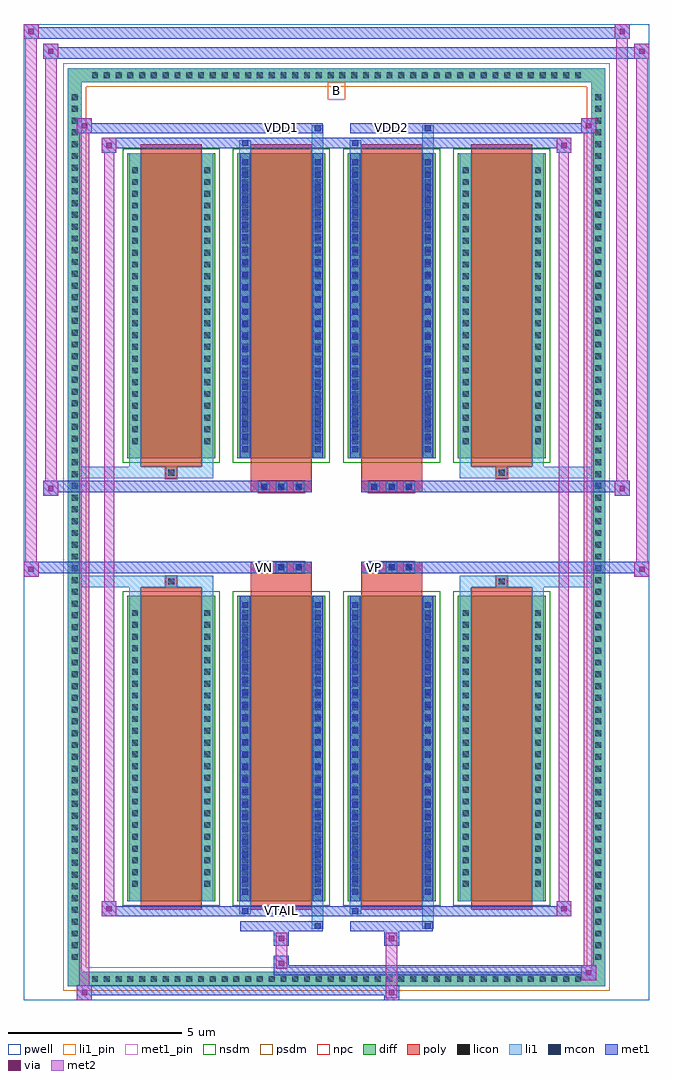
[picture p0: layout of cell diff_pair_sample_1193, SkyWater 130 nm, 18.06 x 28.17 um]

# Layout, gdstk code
import gdstk
lib = gdstk.Library(unit=1e-6, precision=5e-09)
def R(c, l, rs):  # rectangles x0, y0, x1, y1
    for r in rs: c.add(gdstk.rectangle(r[:2], r[2:], *l))
def A(c, l, x, y, w, h, nx, ny, dx, dy):  # array of equal rectangles
    R(c, l, [(x+i*dx, y+j*dy, x+i*dx+w, y+j*dy+h) for i in range(nx) for j in range(ny)])
def P(c, l, *ps):  # polygons
    for p in ps: c.add(gdstk.Polygon(p, *l))
pwell = (64, 44)
diff = (65, 20)
poly = (66, 20)
licon = (66, 44)
li1_pin = (67, 16)
li1 = (67, 20)
mcon = (67, 44)
met1_pin = (68, 16)
met1 = (68, 20)
via = (68, 44)
met2 = (69, 20)
nsdm = (93, 44)
psdm = (94, 20)
npc = (95, 20)

diff_pair_sample_1193 = lib.new_cell('diff_pair_sample_1193')
R(diff_pair_sample_1193, pwell, [(-9.03,-13.65,9.03,14.52), (-6.35,-11.84,-0.01,-0.8), (0.01,-11.84,6.35,-0.8), (-6.35,0.8,-0.01,11.84), (0.01,0.8,6.35,11.84)])
A(diff_pair_sample_1193, diff, -7.175, -13.25, 0.41, 0.41, 42, 2, 0.34, 26.09)
A(diff_pair_sample_1193, diff, -7.76, -12.615, 0.41, 0.41, 1, 74, 0, 0.34)
A(diff_pair_sample_1193, diff, 7.35, -12.615, 0.41, 0.41, 1, 74, 0, 0.34)
A(diff_pair_sample_1193, diff, -6.04, -10.795, 2.54, 8.81, 4, 2, 3.18, 12.78)
R(diff_pair_sample_1193, diff, [(-7.175,-13.25,7.175,-12.84), (-7.76,-12.615,-7.35,12.615), (7.35,-12.615,7.76,12.615), (-7.175,12.84,7.175,13.25)])
P(diff_pair_sample_1193, diff, [(7.76,13.25),(-7.76,13.25),(-7.76,-12.84),(-7.35,-12.84),(-7.35,12.84),(7.35,12.84),(7.35,-12.84),(-7.35,-12.84),(-7.76,-12.84),(-7.76,-13.25),(7.76,-13.25)])
A(diff_pair_sample_1193, poly, -5.65, -11.045, 1.76, 9.31, 4, 2, 3.18, 12.78)
A(diff_pair_sample_1193, poly, -2.255, -1.33, 0.33, 0.33, 3, 2, 0.5, 2.33)
A(diff_pair_sample_1193, poly, 0.925, -1.33, 0.33, 0.33, 3, 2, 0.5, 2.33)
R(diff_pair_sample_1193, poly, [(-4.935,-1.735,-4.605,-1.405), (-4.935,-1.735,-4.605,-1.405), (-2.47,-1.735,-0.71,-1.33), (0.71,-1.735,2.47,-1.33), (4.605,-1.735,4.935,-1.405), (4.605,-1.735,4.935,-1.405), (-2.47,-1.33,-0.71,-1), (0.71,-1.33,2.47,-1), (-2.47,1,-0.71,1.33), (0.71,1,2.47,1.33), (-2.47,1.33,-0.71,1.735), (0.71,1.33,2.47,1.735), (-4.935,1.405,-4.605,1.735), (-4.935,1.405,-4.605,1.735), (4.605,1.405,4.935,1.735), (4.605,1.405,4.935,1.735)])
A(diff_pair_sample_1193, licon, -7.055, -13.13, 0.17, 0.17, 42, 2, 0.34, 26.09)
A(diff_pair_sample_1193, licon, -7.64, -12.495, 0.17, 0.17, 1, 74, 0, 0.34)
A(diff_pair_sample_1193, licon, 7.47, -12.495, 0.17, 0.17, 1, 74, 0, 0.34)
A(diff_pair_sample_1193, licon, -5.9, -10.385, 0.17, 0.17, 1, 24, 0, 0.34)
A(diff_pair_sample_1193, licon, -3.81, -10.385, 0.17, 0.17, 1, 24, 0, 0.34)
A(diff_pair_sample_1193, licon, -2.72, -10.385, 0.17, 0.17, 1, 24, 0, 0.34)
A(diff_pair_sample_1193, licon, -0.63, -10.385, 0.17, 0.17, 1, 24, 0, 0.34)
A(diff_pair_sample_1193, licon, 0.46, -10.385, 0.17, 0.17, 1, 24, 0, 0.34)
A(diff_pair_sample_1193, licon, 2.55, -10.385, 0.17, 0.17, 1, 24, 0, 0.34)
A(diff_pair_sample_1193, licon, 3.64, -10.385, 0.17, 0.17, 1, 24, 0, 0.34)
A(diff_pair_sample_1193, licon, 5.73, -10.385, 0.17, 0.17, 1, 24, 0, 0.34)
A(diff_pair_sample_1193, licon, -2.175, -1.25, 0.17, 0.17, 3, 2, 0.5, 2.33)
A(diff_pair_sample_1193, licon, 1.005, -1.25, 0.17, 0.17, 3, 2, 0.5, 2.33)
A(diff_pair_sample_1193, licon, -5.9, 2.395, 0.17, 0.17, 1, 24, 0, 0.34)
A(diff_pair_sample_1193, licon, -3.81, 2.395, 0.17, 0.17, 1, 24, 0, 0.34)
A(diff_pair_sample_1193, licon, -2.72, 2.395, 0.17, 0.17, 1, 24, 0, 0.34)
A(diff_pair_sample_1193, licon, -0.63, 2.395, 0.17, 0.17, 1, 24, 0, 0.34)
A(diff_pair_sample_1193, licon, 0.46, 2.395, 0.17, 0.17, 1, 24, 0, 0.34)
A(diff_pair_sample_1193, licon, 2.55, 2.395, 0.17, 0.17, 1, 24, 0, 0.34)
A(diff_pair_sample_1193, licon, 3.64, 2.395, 0.17, 0.17, 1, 24, 0, 0.34)
A(diff_pair_sample_1193, licon, 5.73, 2.395, 0.17, 0.17, 1, 24, 0, 0.34)
R(diff_pair_sample_1193, licon, [(-4.855,-1.655,-4.685,-1.485), (4.685,-1.655,4.855,-1.485), (-4.855,1.485,-4.685,1.655), (4.685,1.485,4.855,1.655)])
R(diff_pair_sample_1193, li1_pin, [(-0.25,12.34,0.25,12.84)])
A(diff_pair_sample_1193, li1, -7.135, -13.21, 0.33, 0.33, 42, 2, 0.34, 26.09)
A(diff_pair_sample_1193, li1, -7.72, -12.575, 0.33, 0.33, 1, 74, 0, 0.34)
A(diff_pair_sample_1193, li1, 7.39, -12.575, 0.33, 0.33, 1, 74, 0, 0.34)
A(diff_pair_sample_1193, li1, -2.72, -10.615, 0.17, 0.17, 1, 24, 0, 0.36)
A(diff_pair_sample_1193, li1, -0.63, -10.615, 0.17, 0.17, 1, 24, 0, 0.36)
A(diff_pair_sample_1193, li1, 0.46, -10.615, 0.17, 0.17, 1, 24, 0, 0.36)
A(diff_pair_sample_1193, li1, 2.55, -10.615, 0.17, 0.17, 1, 24, 0, 0.36)
A(diff_pair_sample_1193, li1, -5.98, -10.465, 0.33, 0.33, 1, 24, 0, 0.34)
A(diff_pair_sample_1193, li1, -3.89, -10.465, 0.33, 0.33, 1, 24, 0, 0.34)
A(diff_pair_sample_1193, li1, -2.8, -10.465, 0.33, 0.33, 1, 24, 0, 0.34)
A(diff_pair_sample_1193, li1, -0.71, -10.465, 0.33, 0.33, 1, 24, 0, 0.34)
A(diff_pair_sample_1193, li1, 0.38, -10.465, 0.33, 0.33, 1, 24, 0, 0.34)
A(diff_pair_sample_1193, li1, 2.47, -10.465, 0.33, 0.33, 1, 24, 0, 0.34)
A(diff_pair_sample_1193, li1, 3.56, -10.465, 0.33, 0.33, 1, 24, 0, 0.34)
A(diff_pair_sample_1193, li1, 5.65, -10.465, 0.33, 0.33, 1, 24, 0, 0.34)
A(diff_pair_sample_1193, li1, -2.255, -1.33, 0.33, 0.33, 3, 2, 0.5, 2.33)
A(diff_pair_sample_1193, li1, 0.925, -1.33, 0.33, 0.33, 3, 2, 0.5, 2.33)
A(diff_pair_sample_1193, li1, -2.72, 2.165, 0.17, 0.17, 1, 24, 0, 0.36)
A(diff_pair_sample_1193, li1, -0.63, 2.165, 0.17, 0.17, 1, 24, 0, 0.36)
A(diff_pair_sample_1193, li1, 0.46, 2.165, 0.17, 0.17, 1, 24, 0, 0.36)
A(diff_pair_sample_1193, li1, 2.55, 2.165, 0.17, 0.17, 1, 24, 0, 0.36)
A(diff_pair_sample_1193, li1, -5.98, 2.315, 0.33, 0.33, 1, 24, 0, 0.34)
A(diff_pair_sample_1193, li1, -3.89, 2.315, 0.33, 0.33, 1, 24, 0, 0.34)
A(diff_pair_sample_1193, li1, -2.8, 2.315, 0.33, 0.33, 1, 24, 0, 0.34)
A(diff_pair_sample_1193, li1, -0.71, 2.315, 0.33, 0.33, 1, 24, 0, 0.34)
A(diff_pair_sample_1193, li1, 0.38, 2.315, 0.33, 0.33, 1, 24, 0, 0.34)
A(diff_pair_sample_1193, li1, 2.47, 2.315, 0.33, 0.33, 1, 24, 0, 0.34)
A(diff_pair_sample_1193, li1, 3.56, 2.315, 0.33, 0.33, 1, 24, 0, 0.34)
A(diff_pair_sample_1193, li1, 5.65, 2.315, 0.33, 0.33, 1, 24, 0, 0.34)
R(diff_pair_sample_1193, li1, [(-7.76,-13.25,-7.35,-12.84), (-7.76,-13.25,-7.35,-12.84), (-7.35,-13.25,7.35,-12.84), (7.35,-13.25,7.76,-12.84), (7.35,-13.25,7.76,-12.84), (-7.76,-12.84,-7.35,12.84), (7.35,-12.84,7.76,12.84), (-0.71,-11.6,-0.38,-10.795), (-0.63,-11.6,-0.46,-11.43), (2.47,-11.6,2.8,-10.795), (2.55,-11.6,2.72,-11.43), (-2.8,-11.17,-2.47,-10.795), (-2.72,-11.17,-2.55,-11), (0.38,-11.17,0.71,-10.795), (0.46,-11.17,0.63,-11), (-5.98,-10.795,-5.65,-1.985), (-3.89,-10.795,-3.56,-1.985), (-2.8,-10.795,-2.47,-1.985), (-0.71,-10.795,-0.38,-1.985), (0.38,-10.795,0.71,-1.985), (2.47,-10.795,2.8,-1.985), (3.56,-10.795,3.89,-1.985), (5.65,-10.795,5.98,-1.985), (-2.72,-10.615,-2.55,-2.165), (-0.63,-10.615,-0.46,-2.165), (0.46,-10.615,0.63,-2.165), (2.55,-10.615,2.72,-2.165), (-5.98,-1.985,-5.65,-1.405), (-3.89,-1.985,-3.56,-1.405), (3.56,-1.985,3.89,-1.405), (5.65,-1.985,5.98,-1.405), (-7.76,-1.735,-4.935,-1.405), (-5.98,-1.735,-4.935,-1.405), (-4.935,-1.735,-4.605,-1.405), (-4.605,-1.735,-3.56,-1.405), (3.56,-1.735,4.605,-1.405), (4.605,-1.735,4.935,-1.405), (4.605,-1.735,7.76,-1.405), (4.935,-1.735,5.98,-1.405), (-7.76,1.405,-4.935,1.735), (-5.98,1.405,-4.935,1.735), (-5.98,1.405,-5.65,1.985), (-4.935,1.405,-4.605,1.735), (-4.605,1.405,-3.56,1.735), (-3.89,1.405,-3.56,1.985), (3.56,1.405,4.605,1.735), (3.56,1.405,3.89,1.985), (4.605,1.405,4.935,1.735), (4.605,1.405,7.76,1.735), (4.935,1.405,5.98,1.735), (5.65,1.405,5.98,1.985), (-5.98,1.985,-5.65,10.795), (-3.89,1.985,-3.56,10.795), (-2.8,1.985,-2.47,10.795), (-0.71,1.985,-0.38,10.795), (0.38,1.985,0.71,10.795), (2.47,1.985,2.8,10.795), (3.56,1.985,3.89,10.795), (5.65,1.985,5.98,10.795), (-2.72,2.165,-2.55,10.615), (-0.63,2.165,-0.46,10.615), (0.46,2.165,0.63,10.615), (2.55,2.165,2.72,10.615), (-2.8,10.795,-2.47,11.17), (-0.71,10.795,-0.38,11.6), (0.38,10.795,0.71,11.17), (2.47,10.795,2.8,11.6), (-2.72,11,-2.55,11.17), (0.46,11,0.63,11.17), (-0.63,11.43,-0.46,11.6), (2.55,11.43,2.72,11.6), (-7.76,12.84,-7.35,13.25), (-7.76,12.84,-7.35,13.25), (-7.35,12.84,7.35,13.25), (7.35,12.84,7.76,13.25), (7.35,12.84,7.76,13.25)])
A(diff_pair_sample_1193, mcon, -2.72, -10.615, 0.17, 0.17, 1, 24, 0, 0.36)
A(diff_pair_sample_1193, mcon, -0.63, -10.615, 0.17, 0.17, 1, 24, 0, 0.36)
A(diff_pair_sample_1193, mcon, 0.46, -10.615, 0.17, 0.17, 1, 24, 0, 0.36)
A(diff_pair_sample_1193, mcon, 2.55, -10.615, 0.17, 0.17, 1, 24, 0, 0.36)
A(diff_pair_sample_1193, mcon, -2.175, -1.25, 0.17, 0.17, 3, 2, 0.5, 2.33)
A(diff_pair_sample_1193, mcon, 1.005, -1.25, 0.17, 0.17, 3, 2, 0.5, 2.33)
A(diff_pair_sample_1193, mcon, -2.72, 2.165, 0.17, 0.17, 1, 24, 0, 0.36)
A(diff_pair_sample_1193, mcon, -0.63, 2.165, 0.17, 0.17, 1, 24, 0, 0.36)
A(diff_pair_sample_1193, mcon, 0.46, 2.165, 0.17, 0.17, 1, 24, 0, 0.36)
A(diff_pair_sample_1193, mcon, 2.55, 2.165, 0.17, 0.17, 1, 24, 0, 0.36)
R(diff_pair_sample_1193, mcon, [(-0.63,-11.6,-0.46,-11.43), (2.55,-11.6,2.72,-11.43), (-2.72,-11.17,-2.55,-11), (0.46,-11.17,0.63,-11), (-2.72,11,-2.55,11.17), (0.46,11,0.63,11.17), (-0.63,11.43,-0.46,11.6), (2.55,11.43,2.72,11.6)])
R(diff_pair_sample_1193, met1_pin, [(-1.725,-11.21,-1.455,-10.94), (-2.225,-1.29,-1.955,-1.02), (0.955,-1.29,1.225,-1.02), (-1.725,11.39,-1.455,11.66), (1.455,11.39,1.725,11.66)])
A(diff_pair_sample_1193, met1, -2.78, -10.675, 0.29, 0.29, 1, 24, 0, 0.36)
A(diff_pair_sample_1193, met1, -0.69, -10.675, 0.29, 0.29, 1, 24, 0, 0.36)
A(diff_pair_sample_1193, met1, 0.4, -10.675, 0.29, 0.29, 1, 24, 0, 0.36)
A(diff_pair_sample_1193, met1, 2.49, -10.675, 0.29, 0.29, 1, 24, 0, 0.36)
A(diff_pair_sample_1193, met1, -2.235, -1.31, 0.29, 0.29, 3, 2, 0.5, 2.33)
A(diff_pair_sample_1193, met1, 0.945, -1.31, 0.29, 0.29, 3, 2, 0.5, 2.33)
A(diff_pair_sample_1193, met1, -2.78, 2.105, 0.29, 0.29, 1, 24, 0, 0.36)
A(diff_pair_sample_1193, met1, -0.69, 2.105, 0.29, 0.29, 1, 24, 0, 0.36)
A(diff_pair_sample_1193, met1, 0.4, 2.105, 0.29, 0.29, 1, 24, 0, 0.36)
A(diff_pair_sample_1193, met1, 2.49, 2.105, 0.29, 0.29, 1, 24, 0, 0.36)
R(diff_pair_sample_1193, met1, [(-7.49,-13.65,-7.06,-13.22), (1.375,-13.65,1.805,-13.22), (-7.49,-13.51,1.805,-13.22), (7.06,-13.08,7.49,-12.65), (-1.805,-12.94,7.49,-12.65), (-1.805,-12.8,-1.375,-12.37), (-1.805,-12.09,-1.375,-11.66), (1.375,-12.09,1.805,-11.66), (-2.78,-11.66,-0.4,-11.37), (-0.69,-11.66,-0.4,-11.37), (0.4,-11.66,2.78,-11.37), (2.49,-11.66,2.78,-11.37), (-6.78,-11.23,-6.35,-10.8), (-6.78,-11.23,-2.78,-10.94), (-2.78,-11.23,-2.49,-10.94), (-2.78,-11.23,-0.4,-10.94), (-0.4,-11.23,0.4,-10.94), (0.4,-11.23,0.69,-10.94), (0.4,-11.23,2.78,-10.94), (2.78,-11.23,6.78,-10.94), (6.35,-11.23,6.78,-10.8), (-2.78,-10.795,-2.49,-1.985), (-0.69,-10.795,-0.4,-1.985), (0.4,-10.795,0.69,-1.985), (2.49,-10.795,2.78,-1.985), (-9.03,-1.43,-8.6,-1), (8.6,-1.43,9.03,-1), (-9.03,-1.33,-0.71,-1), (-2.47,-1.33,-0.71,-1), (0.71,-1.33,2.47,-1), (0.71,-1.33,9.03,-1), (-8.46,0.9,-8.03,1.33), (8.03,0.9,8.46,1.33), (-8.46,1,-2.47,1.33), (-2.47,1,-0.71,1.33), (0.71,1,2.47,1.33), (2.47,1,8.46,1.33), (-2.78,1.985,-2.49,10.795), (-0.69,1.985,-0.4,10.795), (0.4,1.985,0.69,10.795), (2.49,1.985,2.78,10.795), (-6.78,10.8,-6.35,11.23), (6.35,10.8,6.78,11.23), (-6.78,10.94,-2.78,11.23), (-2.78,10.94,-2.49,11.23), (-2.78,10.94,-0.4,11.23), (-0.4,10.94,0.4,11.23), (0.4,10.94,0.69,11.23), (0.4,10.94,2.78,11.23), (2.78,10.94,6.78,11.23), (-7.49,11.37,-7.06,11.8), (-7.49,11.37,-2.78,11.66), (-2.78,11.37,-0.4,11.66), (-0.69,11.37,-0.4,11.66), (0.4,11.37,2.78,11.66), (2.49,11.37,2.78,11.66), (2.78,11.37,7.49,11.66), (7.06,11.37,7.49,11.8), (-8.46,13.52,-8.03,13.95), (-8.46,13.52,-6.35,13.85), (-6.35,13.52,6.35,13.85), (6.35,13.52,9.03,13.85), (8.6,13.52,9.03,13.95), (-9.03,14.09,-8.6,14.52), (-9.03,14.09,-6.35,14.42), (-6.35,14.09,6.35,14.42), (6.35,14.09,8.46,14.42), (8.03,14.09,8.46,14.52)])
R(diff_pair_sample_1193, via, [(-7.35,-13.51,-7.2,-13.36), (1.515,-13.51,1.665,-13.36), (7.2,-12.94,7.35,-12.79), (-1.665,-12.66,-1.515,-12.51), (-1.665,-11.95,-1.515,-11.8), (1.515,-11.95,1.665,-11.8), (-6.64,-11.09,-6.49,-10.94), (6.49,-11.09,6.64,-10.94), (-8.89,-1.29,-8.74,-1.14), (8.74,-1.29,8.89,-1.14), (-8.32,1.04,-8.17,1.19), (8.17,1.04,8.32,1.19), (-6.64,10.94,-6.49,11.09), (6.49,10.94,6.64,11.09), (-7.35,11.51,-7.2,11.66), (7.2,11.51,7.35,11.66), (-8.32,13.66,-8.17,13.81), (8.74,13.66,8.89,13.81), (-8.89,14.23,-8.74,14.38), (8.17,14.23,8.32,14.38)])
R(diff_pair_sample_1193, met2, [(-7.49,-13.65,-7.06,-13.22), (-7.42,-13.65,-7.13,11.8), (-7.13,-13.65,-7.06,-13.22), (-7.44,-13.6,-7.11,-13.27), (1.425,-13.6,1.755,-13.27), (1.425,-13.27,1.755,-12.04), (7.06,-13.08,7.49,-12.65), (7.13,-13.08,7.42,11.8), (7.42,-13.08,7.49,-12.65), (7.11,-13.03,7.44,-12.7), (-1.755,-12.75,-1.425,-12.42), (-1.755,-12.42,-1.425,-12.04), (-1.755,-12.04,-1.425,-11.71), (1.425,-12.04,1.755,-11.71), (-6.78,-11.23,-6.35,-10.8), (-6.71,-11.23,-6.42,11.23), (-6.42,-11.23,-6.35,-10.8), (6.35,-11.23,6.78,-10.8), (6.42,-11.23,6.71,11.23), (6.71,-11.23,6.78,-10.8), (-6.73,-11.18,-6.4,-10.85), (6.4,-11.18,6.73,-10.85), (-9.03,-1.43,-8.6,-1), (-8.98,-1.43,-8.65,14.52), (-8.65,-1.43,-8.6,-1), (8.6,-1.43,9.03,-1), (8.65,-1.43,8.98,13.95), (8.98,-1.43,9.03,-1), (-8.98,-1.38,-8.65,-1.05), (8.65,-1.38,8.98,-1.05), (-8.46,0.9,-8.03,1.33), (-8.41,0.9,-8.08,13.95), (-8.08,0.9,-8.03,1.33), (8.03,0.9,8.46,1.33), (8.08,0.9,8.41,14.52), (8.41,0.9,8.46,1.33), (-8.41,0.95,-8.08,1.28), (8.08,0.95,8.41,1.28), (-6.78,10.8,-6.35,11.23), (-6.42,10.8,-6.35,11.23), (6.35,10.8,6.78,11.23), (6.71,10.8,6.78,11.23), (-6.73,10.85,-6.4,11.18), (6.4,10.85,6.73,11.18), (-7.49,11.37,-7.06,11.8), (-7.13,11.37,-7.06,11.8), (7.06,11.37,7.49,11.8), (7.42,11.37,7.49,11.8), (-7.44,11.42,-7.11,11.75), (7.11,11.42,7.44,11.75), (-8.46,13.52,-8.03,13.95), (-8.08,13.52,-8.03,13.95), (8.6,13.52,9.03,13.95), (8.98,13.52,9.03,13.95), (-8.41,13.57,-8.08,13.9), (8.65,13.57,8.98,13.9), (-9.03,14.09,-8.6,14.52), (-8.65,14.09,-8.6,14.52), (8.03,14.09,8.46,14.52), (8.41,14.09,8.46,14.52), (-8.98,14.14,-8.65,14.47), (8.08,14.14,8.41,14.47)])
A(diff_pair_sample_1193, nsdm, -6.17, -10.925, 2.8, 9.07, 4, 2, 3.18, 12.78)
P(diff_pair_sample_1193, psdm, [(7.89,13.38),(-7.89,13.38),(-7.89,-12.71),(-7.22,-12.71),(-7.22,12.71),(7.22,12.71),(7.22,-12.71),(-7.22,-12.71),(-7.89,-12.71),(-7.89,-13.38),(7.89,-13.38)])
A(diff_pair_sample_1193, npc, -2.275, -1.35, 0.37, 0.37, 3, 2, 0.5, 2.33)
A(diff_pair_sample_1193, npc, 0.905, -1.35, 0.37, 0.37, 3, 2, 0.5, 2.33)
R(diff_pair_sample_1193, npc, [(-4.955,-1.755,-4.585,-1.385), (4.585,-1.755,4.955,-1.385), (-2.275,-1.35,-1.405,-0.98), (-2.275,-1.35,-1.405,-0.98), (-1.775,-1.35,-0.905,-0.98), (-1.775,-1.35,-0.905,-0.98), (0.905,-1.35,1.775,-0.98), (0.905,-1.35,1.775,-0.98), (1.405,-1.35,2.275,-0.98), (1.405,-1.35,2.275,-0.98), (-2.275,0.98,-1.405,1.35), (-2.275,0.98,-1.405,1.35), (-1.775,0.98,-0.905,1.35), (-1.775,0.98,-0.905,1.35), (0.905,0.98,1.775,1.35), (0.905,0.98,1.775,1.35), (1.405,0.98,2.275,1.35), (1.405,0.98,2.275,1.35), (-4.955,1.385,-4.585,1.755), (4.585,1.385,4.955,1.755)])
diff_pair_sample_1193.add(gdstk.Label('VTAIL', (-1.59,-11.075), layer=68, texttype=5))
diff_pair_sample_1193.add(gdstk.Label('VN', (-2.09,-1.155), layer=68, texttype=5))
diff_pair_sample_1193.add(gdstk.Label('VP', (1.09,-1.155), layer=68, texttype=5))
diff_pair_sample_1193.add(gdstk.Label('B', (0,12.59), layer=67, texttype=5))
diff_pair_sample_1193.add(gdstk.Label('VDD2', (1.59,11.525), layer=68, texttype=5))
diff_pair_sample_1193.add(gdstk.Label('VDD1', (-1.59,11.525), layer=68, texttype=5))

lib.write_gds('diff_pair_sample_1193.gds')
